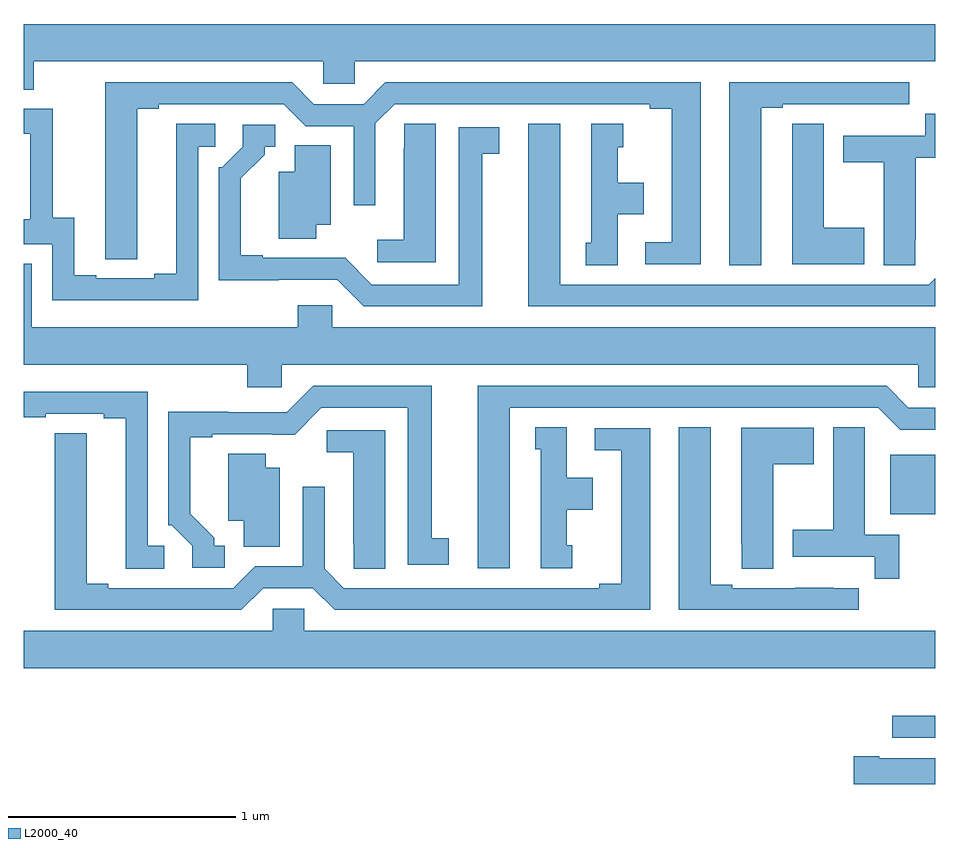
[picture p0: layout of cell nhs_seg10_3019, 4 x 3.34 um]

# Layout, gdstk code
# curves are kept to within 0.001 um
import gdstk
lib = gdstk.Library(unit=1e-6, precision=1e-09)
def R(c, l, rs):  # rectangles x0, y0, x1, y1
    for r in rs: c.add(gdstk.rectangle(r[:2], r[2:], *l))
def P(c, l, *ps):  # polygons
    for p in ps: c.add(gdstk.Polygon(p, *l))
L2000_40 = (2000, 40)

nhs_seg10_3019 = lib.new_cell('nhs_seg10_3019')
R(nhs_seg10_3019, L2000_40, [(278.811,1274.703,279,1274.799), (278.804,1275.683,279,1275.946)])
P(nhs_seg10_3019, L2000_40, [(275.043,1277.672),(276.315,1277.672),(276.315,1277.574),(276.453,1277.574),(276.453,1277.672),(279,1277.672),(279,1277.836),(275,1277.836),(275,1277.548),(275.043,1277.548)],
  [(277.972,1277.58),(276.587,1277.58),(276.491,1277.484),(276.273,1277.484),(276.177,1277.58),(275.357,1277.58),(275.358,1276.804),(275.497,1276.804),(275.497,1277.464),(275.593,1277.464),(275.593,1277.484),(276.141,1277.484),(276.237,1277.388),(276.447,1277.388),(276.447,1277.04),(276.543,1277.04),(276.543,1277.4),(276.627,1277.484),(277.748,1277.484),(277.748,1277.464),(277.844,1277.464),(277.844,1276.878),(277.728,1276.878),(277.728,1276.782),(277.972,1276.782)],
  [(278.236,1277.469),(278.332,1277.469),(278.332,1277.484),(278.608,1277.484),(278.608,1277.483),(278.774,1277.483),(278.774,1277.484),(278.887,1277.484),(278.887,1277.58),(278.096,1277.58),(278.096,1276.777),(278.236,1276.777)],
  [(275.766,1277.298),(275.839,1277.298),(275.839,1277.399),(275.669,1277.399),(275.669,1276.739),(275.573,1276.739),(275.573,1276.719),(275.317,1276.719),(275.317,1276.734),(275.221,1276.734),(275.221,1276.985),(275.127,1276.985),(275.127,1277.463),(275,1277.463),(275,1277.355),(275.027,1277.355),(275.027,1276.978),(275,1276.978),(275,1276.869),(275.124,1276.869),(275.124,1276.623),(275.766,1276.623)],
  [(278.913,1276.888),(278.914,1276.888),(278.914,1277.25),(279,1277.25),(279,1277.443),(278.956,1277.443),(278.956,1277.346),(278.597,1277.346),(278.597,1277.23),(278.774,1277.23),(278.774,1276.777),(278.913,1276.777)],
  [(278.689,1276.941),(278.512,1276.941),(278.512,1277.399),(278.373,1277.399),(278.373,1277.291),(278.372,1277.291),(278.372,1276.781),(278.689,1276.781)],
  [(276.808,1277.399),(276.669,1277.399),(276.669,1277.291),(276.668,1277.291),(276.668,1276.888),(276.552,1276.888),(276.552,1276.791),(276.808,1276.791)],
  [(277.606,1277),(277.72,1277),(277.72,1277.14),(277.606,1277.14),(277.606,1277.295),(277.63,1277.295),(277.63,1277.398),(277.49,1277.398),(277.49,1276.875),(277.466,1276.875),(277.466,1276.777),(277.606,1276.777)],
  [(279,1276.719),(278.973,1276.692),(277.354,1276.692),(277.354,1277.398),(277.214,1277.398),(277.214,1276.596),(279,1276.596)],
  [(277.012,1277.266),(277.087,1277.266),(277.087,1277.382),(276.908,1277.382),(276.908,1276.692),(276.528,1276.692),(276.41,1276.81),(276.049,1276.809),(276.049,1276.822),(275.953,1276.822),(275.953,1277.158),(276.058,1277.263),(276.058,1277.298),(276.103,1277.298),(276.103,1277.394),(275.961,1277.394),(275.961,1277.298),(275.871,1277.208),(275.856,1277.208),(275.856,1276.712),(276.375,1276.713),(276.492,1276.596),(277.012,1276.596)],
  [(276.283,1276.955),(276.346,1276.955),(276.346,1277.303),(276.188,1277.303),(276.188,1277.188),(276.119,1277.188),(276.119,1276.894),(276.283,1276.894)],
  [(276.132,1276.34),(278.925,1276.34),(278.925,1276.242),(279,1276.242),(279,1276.504),(276.354,1276.504),(276.354,1276.602),(276.203,1276.602),(276.203,1276.504),(275.035,1276.504),(275.035,1276.784),(275,1276.784),(275,1276.34),(275.981,1276.34),(275.981,1276.242),(276.132,1276.242)],
  [(277.132,1276.152),(278.751,1276.152),(278.847,1276.056),(279,1276.056),(279,1276.152),(278.883,1276.152),(278.787,1276.248),(276.992,1276.248),(276.992,1275.447),(277.132,1275.447)],
  [(275.881,1275.546),(275.836,1275.546),(275.836,1275.581),(275.731,1275.686),(275.731,1276.023),(275.827,1276.023),(275.827,1276.035),(276.188,1276.034),(276.306,1276.152),(276.686,1276.152),(276.686,1275.462),(276.865,1275.462),(276.865,1275.578),(276.79,1275.578),(276.79,1276.248),(276.27,1276.248),(276.153,1276.131),(275.897,1276.131),(275.897,1276.133),(275.634,1276.133),(275.634,1275.636),(275.649,1275.636),(275.739,1275.546),(275.739,1275.45),(275.881,1275.45)],
  [(275.617,1275.546),(275.544,1275.546),(275.544,1276.221),(275,1276.221),(275,1276.11),(275.095,1276.11),(275.095,1276.125),(275.351,1276.125),(275.351,1276.105),(275.447,1276.105),(275.447,1275.445),(275.617,1275.445)],
  [(278.843,1275.594),(278.692,1275.594),(278.692,1275.956),(278.691,1275.956),(278.691,1276.067),(278.552,1276.067),(278.552,1275.615),(278.375,1275.615),(278.375,1275.498),(278.734,1275.498),(278.734,1275.402),(278.843,1275.402)],
  [(277.408,1275.549),(277.384,1275.549),(277.384,1275.704),(277.498,1275.704),(277.498,1275.844),(277.384,1275.844),(277.384,1276.067),(277.244,1276.067),(277.244,1275.969),(277.268,1275.969),(277.268,1275.447),(277.408,1275.447)],
  [(278.665,1275.36),(278.552,1275.36),(278.552,1275.361),(278.386,1275.361),(278.386,1275.36),(278.11,1275.36),(278.11,1275.375),(278.014,1275.375),(278.014,1276.067),(277.874,1276.067),(277.874,1275.264),(278.665,1275.264)],
  [(278.29,1275.904),(278.467,1275.904),(278.467,1276.063),(278.15,1276.063),(278.15,1275.553),(278.151,1275.553),(278.151,1275.445),(278.29,1275.445)],
  [(276.051,1275.36),(276.269,1275.36),(276.365,1275.264),(277.75,1275.264),(277.75,1276.062),(277.506,1276.062),(277.506,1275.966),(277.622,1275.966),(277.622,1275.38),(277.526,1275.38),(277.526,1275.36),(276.405,1275.36),(276.321,1275.444),(276.321,1275.805),(276.225,1275.805),(276.225,1275.456),(276.015,1275.456),(275.919,1275.36),(275.371,1275.36),(275.371,1275.38),(275.275,1275.38),(275.275,1276.04),(275.136,1276.04),(275.135,1275.264),(275.955,1275.264)],
  [(276.586,1276.053),(276.33,1276.053),(276.33,1275.956),(276.446,1275.956),(276.446,1275.553),(276.447,1275.553),(276.447,1275.445),(276.586,1275.445)],
  [(276.124,1275.889),(276.061,1275.889),(276.061,1275.95),(275.897,1275.95),(275.897,1275.656),(275.966,1275.656),(275.966,1275.541),(276.124,1275.541)],
  [(279,1275.172),(276.231,1275.172),(276.231,1275.27),(276.093,1275.27),(276.093,1275.172),(275,1275.172),(275,1275.008),(279,1275.008)],
  [(279,1274.614),(278.755,1274.614),(278.755,1274.622),(278.643,1274.622),(278.643,1274.5),(279,1274.5)])

lib.write_gds('nhs_seg10_3019.gds')
